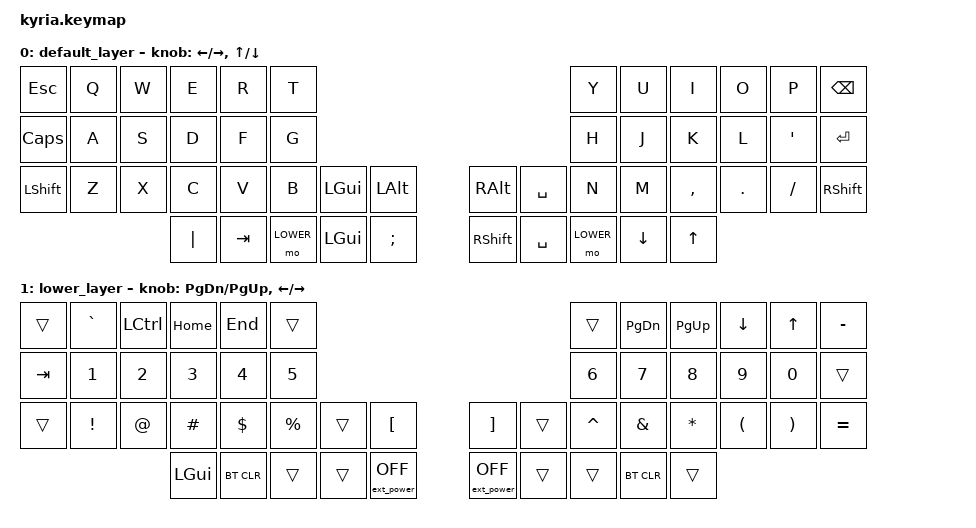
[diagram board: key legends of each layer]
/*
 * Copyright (c) 2020 The ZMK Contributors
 *
 * SPDX-License-Identifier: MIT
 */

#include <behaviors.dtsi>
#include <dt-bindings/zmk/keys.h>
#include <dt-bindings/zmk/bt.h>
#include <dt-bindings/zmk/ext_power.h>

&left_encoder { resolution = <2>; };

#define DEFAULT 0
#define LOWER   1

/ {
	keymap {
		compatible = "zmk,keymap";

		default_layer {
// ---------------------------------------------------------------------------------------------------------------------------------
// |  ESC  |  Q  |  W  |  E   |  R   |  T   |                                            |  Y   |  U    |  I    |  O   |   P   |  BSPC |
// |  CLCK |  A  |  S  |  D   |  F   |  G   |                                            |  H   |  J    |  K    |  L   |  APOS |  RET  |
// | SHIFT |  Z  |  X  |  C   |  V   |  B   | LGUI | ALT |            |   ALT  |  SPACE  |  N   |  M    |  ,    |  .   |   /   | RSHFT |
//                     | PIPE | TAB  |  MO1 | LGUI |   ; |            |  RSHFT |  SPACE  | MO1  | DOWN  |   UP  |
			bindings = <
	&kp ESC    &kp Q  &kp W    &kp E     &kp R   &kp T                                                        		 &kp Y       &kp U     &kp I      &kp O    &kp P     &kp BSPC
	&kp CLCK   &kp A  &kp S    &kp D     &kp F   &kp G                                                         		 &kp H       &kp J     &kp K      &kp L    &kp APOS  &kp RET
	&kp LSHFT  &kp Z  &kp X    &kp C     &kp V   &kp B  		&kp LGUI  &kp LALT                &kp RALT    &kp SPACE  &kp N       &kp M     &kp COMMA  &kp DOT  &kp FSLH  &kp RSHFT
	                  		   &kp PIPE  &kp TAB &mo LOWER  &kp LGUI  &kp SEMI                &kp RSHFT   &kp SPACE  &mo LOWER   &kp DOWN  &kp UP
			>;
			sensor-bindings = <&inc_dec_kp LEFT RIGHT &inc_dec_kp UP DOWN>;
};

        lower_layer {
// ---------------------------------------------------------------------------------------------------------------------------------
// |   ESC |  GRAVE|  LCTRL |   LALT  |   HOME |      |                                             |       |   PGDN | PGUP  |  DOWN |   UP  |  MINUS |
// |  TAB  |   1   |   2    |    3    |   4    |   5  |                                             |   6   |   7    |   8   |   9   |   0   |   RET  |
// | SHIFT |   !   |   @    |    #    |   $    |   %  |  LGUI  |  LBKT  |       |  RBKT    |  SPACE |   ^   |   &    |   *   |  LPAR |  RPAR |  EQUAL |
//                          | LGUI    | BT_CLR |      |  LGUI  | EP_OFF |       | PG DOWN  |  SPACE |       | BT_CLR |   UP  |
			bindings = <
	&trans   &kp GRAVE &kp LCTRL  &kp HOME    &kp END     &trans					     		  	    &trans  	 &kp PG_DN   &kp PG_UP  &kp DOWN  &kp UP    &kp MINUS
	&kp TAB  &kp N1    &kp N2     &kp N3      &kp N4      &kp N5           				      		   	    &kp N6  	 &kp N7	     &kp N8	&kp N9    &kp N0    &trans
	&trans   &kp EXCL  &kp AT     &kp HASH    &kp DOLLAR  &kp PERCENT  &trans   &kp LBKT            &kp RBKT	   &trans   &kp CARET    &kp AMPS    &kp STAR   &kp LPAR  &kp RPAR  &kp EQUAL               
		 		      &kp LGUI    &bt BT_CLR  &trans       &trans   &ext_power EP_OFF	&ext_power EP_OFF  &trans   &trans       &bt BT_CLR  &trans	
	               	            																						

	               		  >;

			sensor-bindings = <&inc_dec_kp PG_DN PG_UP &inc_dec_kp LEFT RIGHT>;
		};
	};
};
